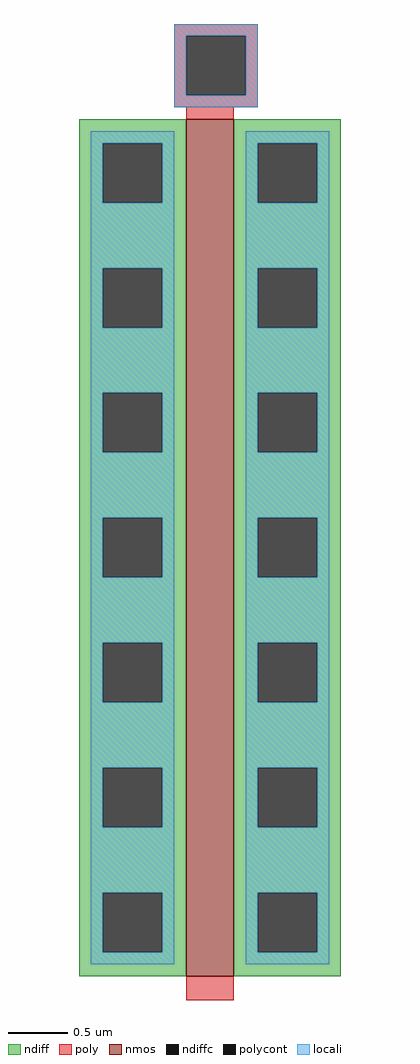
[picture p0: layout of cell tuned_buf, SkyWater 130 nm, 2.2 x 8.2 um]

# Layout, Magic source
magic
tech sky130A
<< nmos >>
rect -10 0 30 720
<< ndiff >>
rect -100 700 -10 720
rect -100 650 -80 700
rect -30 650 -10 700
rect -100 595 -10 650
rect -100 545 -80 595
rect -30 545 -10 595
rect -100 490 -10 545
rect -100 440 -80 490
rect -30 440 -10 490
rect -100 385 -10 440
rect -100 335 -80 385
rect -30 335 -10 385
rect -100 280 -10 335
rect -100 230 -80 280
rect -30 230 -10 280
rect -100 175 -10 230
rect -100 125 -80 175
rect -30 125 -10 175
rect -100 70 -10 125
rect -100 20 -80 70
rect -30 20 -10 70
rect -100 0 -10 20
rect 30 700 120 720
rect 30 650 50 700
rect 100 650 120 700
rect 30 595 120 650
rect 30 545 50 595
rect 100 545 120 595
rect 30 490 120 545
rect 30 440 50 490
rect 100 440 120 490
rect 30 385 120 440
rect 30 335 50 385
rect 100 335 120 385
rect 30 280 120 335
rect 30 230 50 280
rect 100 230 120 280
rect 30 175 120 230
rect 30 125 50 175
rect 100 125 120 175
rect 30 70 120 125
rect 30 20 50 70
rect 100 20 120 70
rect 30 0 120 20
<< ndiffc >>
rect -80 650 -30 700
rect -80 545 -30 595
rect -80 440 -30 490
rect -80 335 -30 385
rect -80 230 -30 280
rect -80 125 -30 175
rect -80 20 -30 70
rect 50 650 100 700
rect 50 545 100 595
rect 50 440 100 490
rect 50 335 100 385
rect 50 230 100 280
rect 50 125 100 175
rect 50 20 100 70
<< poly >>
rect -20 790 50 800
rect -20 740 -10 790
rect 40 740 50 790
rect -20 730 50 740
rect -10 720 30 730
rect -10 -20 30 0
<< polycont >>
rect -10 740 40 790
<< locali >>
rect -20 790 50 800
rect -20 740 -10 790
rect 40 740 50 790
rect -20 730 50 740
rect -90 700 -20 710
rect -90 650 -80 700
rect -30 650 -20 700
rect -90 595 -20 650
rect -90 545 -80 595
rect -30 545 -20 595
rect -90 490 -20 545
rect -90 440 -80 490
rect -30 440 -20 490
rect -90 385 -20 440
rect -90 335 -80 385
rect -30 335 -20 385
rect -90 280 -20 335
rect -90 230 -80 280
rect -30 230 -20 280
rect -90 175 -20 230
rect -90 125 -80 175
rect -30 125 -20 175
rect -90 70 -20 125
rect -90 20 -80 70
rect -30 20 -20 70
rect -90 10 -20 20
rect 40 700 110 710
rect 40 650 50 700
rect 100 650 110 700
rect 40 595 110 650
rect 40 545 50 595
rect 100 545 110 595
rect 40 490 110 545
rect 40 440 50 490
rect 100 440 110 490
rect 40 385 110 440
rect 40 335 50 385
rect 100 335 110 385
rect 40 280 110 335
rect 40 230 50 280
rect 100 230 110 280
rect 40 175 110 230
rect 40 125 50 175
rect 100 125 110 175
rect 40 70 110 125
rect 40 20 50 70
rect 100 20 110 70
rect 40 10 110 20
<< end >>
